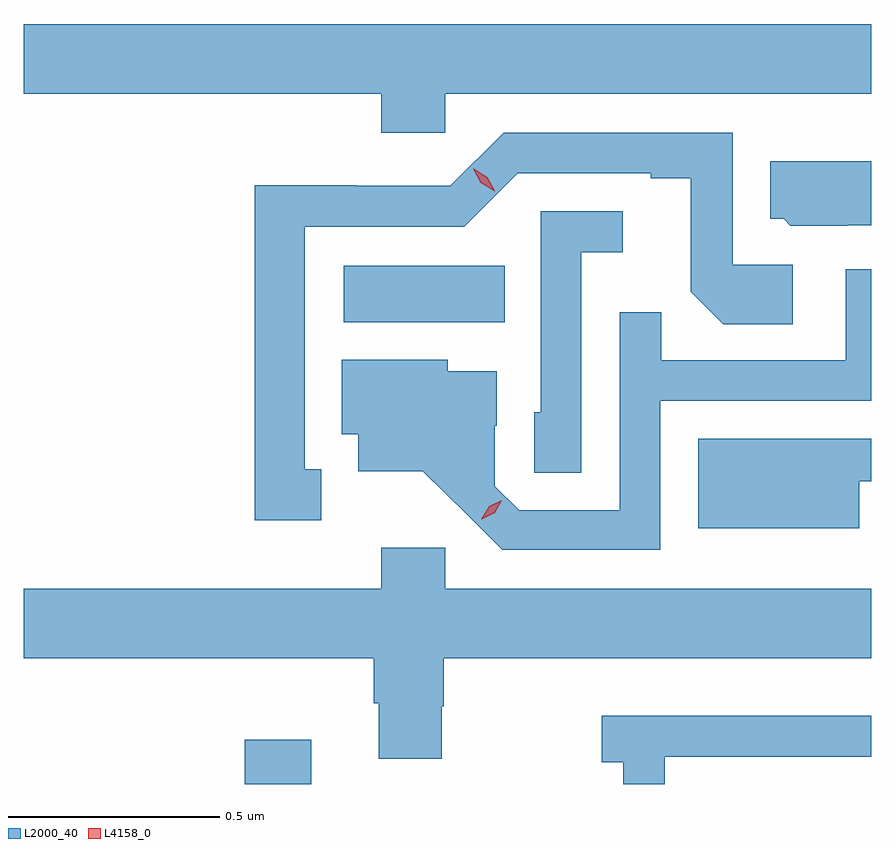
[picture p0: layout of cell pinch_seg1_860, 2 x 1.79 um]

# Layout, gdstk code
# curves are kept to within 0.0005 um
import gdstk
lib = gdstk.Library(unit=1e-6, precision=1e-09)
def R(c, l, rs):  # rectangles x0, y0, x1, y1
    for r in rs: c.add(gdstk.rectangle(r[:2], r[2:], *l))
def P(c, l, *ps):  # polygons
    for p in ps: c.add(gdstk.Polygon(p, *l))
L2000_40 = (2000, 40)
L4158_0 = (4158, 0)

pinch_seg1_860 = lib.new_cell('pinch_seg1_860')
R(pinch_seg1_860, L2000_40, [(484.351,559.427,484.507,559.531), (484.584,560.516,484.964,560.65)])
P(pinch_seg1_860, L2000_40, [(484.824,561.056),(485.829,561.056),(485.829,561.22),(483.829,561.22),(483.829,561.056),(484.673,561.056),(484.673,560.963),(484.824,560.963)],
  [(484.531,560.169),(484.492,560.169),(484.492,560.742),(484.869,560.742),(484.995,560.868),(485.309,560.868),(485.309,560.856),(485.403,560.856),(485.403,560.588),(485.479,560.512),(485.644,560.512),(485.644,560.652),(485.502,560.652),(485.502,560.964),(484.962,560.964),(484.836,560.838),(484.614,560.838),(484.614,560.84),(484.374,560.84),(484.374,560.049),(484.531,560.049)],
  [(485.772,560.745),(485.829,560.745),(485.829,560.896),(485.591,560.896),(485.591,560.76),(485.622,560.76),(485.638,560.744),(485.772,560.744)],
  [(485.145,560.681),(485.242,560.681),(485.242,560.778),(485.049,560.778),(485.049,560.304),(485.034,560.304),(485.034,560.161),(485.145,560.161)],
  [(485.331,560.331),(485.829,560.331),(485.829,560.641),(485.769,560.641),(485.769,560.427),(485.333,560.427),(485.333,560.54),(485.235,560.54),(485.235,560.073),(484.998,560.073),(484.941,560.13),(484.941,560.272),(484.945,560.272),(484.945,560.401),(484.83,560.401),(484.83,560.428),(484.58,560.428),(484.58,560.252),(484.619,560.252),(484.619,560.165),(484.771,560.165),(484.958,559.98),(485.331,559.98)],
  [(485.8,560.141),(485.829,560.141),(485.829,560.242),(485.42,560.242),(485.42,560.03),(485.8,560.03)],
  [(484.815,559.611),(484.82,559.611),(484.82,559.724),(485.829,559.724),(485.829,559.888),(484.824,559.888),(484.824,559.984),(484.673,559.984),(484.673,559.888),(483.829,559.888),(483.829,559.724),(484.655,559.724),(484.655,559.618),(484.667,559.618),(484.667,559.486),(484.815,559.486)],
  [(485.341,559.491),(485.829,559.491),(485.829,559.588),(485.193,559.588),(485.193,559.478),(485.244,559.478),(485.244,559.427),(485.341,559.427)])
P(pinch_seg1_860, L4158_0, [(484.94,560.826),(484.908,560.845),(484.89,560.878),(484.89,560.878),(484.891,560.878),(484.923,560.859),(484.94,560.827),(484.94,560.826)],
  [(484.909,560.052),(484.909,560.052),(484.927,560.082),(484.957,560.097),(484.957,560.097),(484.957,560.097),(484.94,560.067),(484.91,560.052)])

lib.write_gds('pinch_seg1_860.gds')
